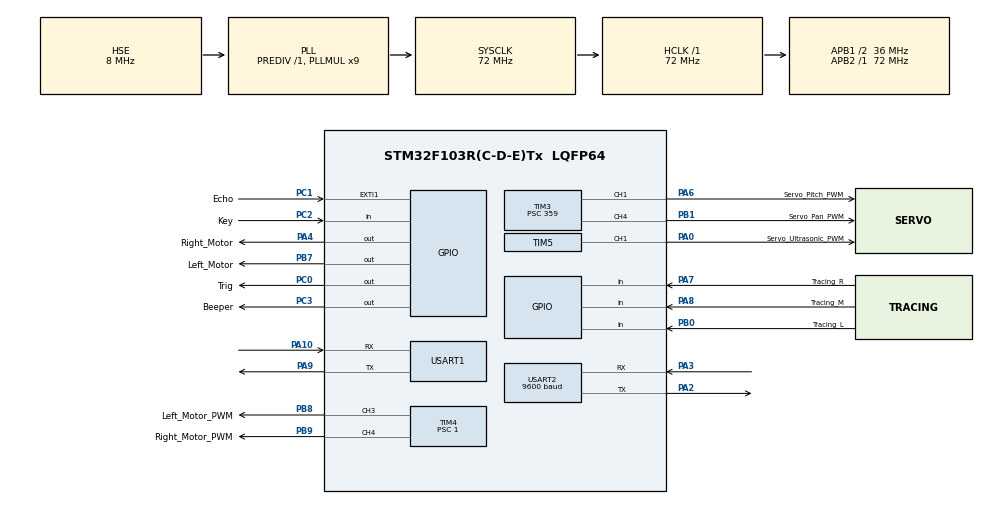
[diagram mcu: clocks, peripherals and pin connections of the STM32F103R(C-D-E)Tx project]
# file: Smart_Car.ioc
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Dma.Request0=USART2_TX
Dma.USART2_TX.0.Direction=DMA_MEMORY_TO_PERIPH
Dma.USART2_TX.0.Instance=DMA1_Channel7
Dma.USART2_TX.0.MemDataAlignment=DMA_MDATAALIGN_BYTE
Dma.USART2_TX.0.MemInc=DMA_MINC_ENABLE
Dma.USART2_TX.0.Mode=DMA_NORMAL
Dma.USART2_TX.0.PeriphDataAlignment=DMA_PDATAALIGN_BYTE
Dma.USART2_TX.0.PeriphInc=DMA_PINC_DISABLE
Dma.USART2_TX.0.Priority=DMA_PRIORITY_MEDIUM
Mcu.Family=STM32F1
Mcu.Name=STM32F103R(C-D-E)Tx
Mcu.Package=LQFP64
NVIC.DMA1_Channel7_IRQn=true\:0\:0\:false\:false\:true\:false\:true
NVIC.EXTI1_IRQn=true\:2\:2\:true\:false\:true\:true\:true
NVIC.PriorityGroup=NVIC_PRIORITYGROUP_2
NVIC.USART1_IRQn=true\:3\:3\:true\:false\:true\:true\:true
NVIC.USART2_IRQn=true\:2\:3\:true\:false\:true\:true\:true
PA0-WKUP.GPIO_Label=Servo_Ultrasonic_PWM
PA0-WKUP.Signal=S_TIM5_CH1
PA10.Mode=Asynchronous
PA10.Signal=USART1_RX
PA13.Mode=Serial_Wire
PA13.Signal=SYS_JTMS-SWDIO
PA14.Mode=Serial_Wire
PA14.Signal=SYS_JTCK-SWCLK
PA2.Mode=Asynchronous
PA2.Signal=USART2_TX
PA3.GPIO_PuPd=GPIO_NOPULL
PA3.Mode=Asynchronous
PA3.Signal=USART2_RX
PA4.GPIO_Label=Right_Motor
PA4.Signal=GPIO_Output
PA6.GPIO_Label=Servo_Pitch_PWM
PA6.Signal=S_TIM3_CH1
PA7.GPIO_Label=Tracing_R
PA7.GPIO_PuPd=GPIO_PULLUP
PA7.Signal=GPIO_Input
PA8.GPIO_Label=Tracing_M
PA8.GPIO_PuPd=GPIO_PULLUP
PA8.Signal=GPIO_Input
PA9.Mode=Asynchronous
PA9.Signal=USART1_TX
PB0.GPIO_Label=Tracing_L
PB0.GPIO_PuPd=GPIO_PULLUP
PB0.Signal=GPIO_Input
PB1.GPIO_Label=Servo_Pan_PWM
PB1.Signal=S_TIM3_CH4
PB7.GPIO_Label=Left_Motor
PB7.Signal=GPIO_Output
PB8.GPIO_Label=Left_Motor_PWM
PB8.Signal=S_TIM4_CH3
PB9.GPIO_Label=Right_Motor_PWM
PB9.Signal=S_TIM4_CH4
PC0.GPIO_Label=Trig
PC0.Signal=GPIO_Output
PC1.GPIO_Label=Echo
PC1.GPIO_ModeDefaultEXTI=GPIO_MODE_IT_RISING
PC1.GPIO_PuPd=GPIO_PULLDOWN
PC1.Signal=GPXTI1
PC2.GPIO_Label=Key
PC2.GPIO_PuPd=GPIO_PULLUP
PC2.Signal=GPIO_Input
PC3.GPIO_Label=Beeper
PC3.Signal=GPIO_Output
PD0-OSC_IN.Mode=HSE-External-Oscillator
PD0-OSC_IN.Signal=RCC_OSC_IN
PD1-OSC_OUT.Mode=HSE-External-Oscillator
PD1-OSC_OUT.Signal=RCC_OSC_OUT
ProjectManager.HeapSize=0x200
ProjectManager.StackSize=0x400
ProjectManager.TargetToolchain=MDK-ARM V5.27
RCC.AHBFreq_Value=72000000
RCC.APB1CLKDivider=RCC_HCLK_DIV2
RCC.APB1Freq_Value=36000000
RCC.APB1TimFreq_Value=72000000
RCC.APB2Freq_Value=72000000
RCC.APB2TimFreq_Value=72000000
RCC.HCLKFreq_Value=72000000
RCC.PLLMUL=RCC_PLL_MUL9
RCC.PLLSourceVirtual=RCC_PLLSOURCE_HSE
RCC.SYSCLKFreq_VALUE=72000000
RCC.SYSCLKSource=RCC_SYSCLKSOURCE_PLLCLK
RCC.USBFreq_Value=72000000
SH.S_TIM3_CH1.0=TIM3_CH1,PWM Generation1 CH1
SH.S_TIM3_CH4.0=TIM3_CH4,PWM Generation4 CH4
SH.S_TIM4_CH3.0=TIM4_CH3,PWM Generation3 CH3
SH.S_TIM4_CH4.0=TIM4_CH4,PWM Generation4 CH4
SH.S_TIM5_CH1.0=TIM5_CH1,PWM Generation1 CH1
TIM2.Period=65535
TIM2.Prescaler=71
TIM3.Channel-PWM\ Generation1\ CH1=TIM_CHANNEL_1
TIM3.Channel-PWM\ Generation4\ CH4=TIM_CHANNEL_4
TIM3.Period=3999
TIM3.Prescaler=359
TIM4.AutoReloadPreload=TIM_AUTORELOAD_PRELOAD_ENABLE
TIM4.Channel-PWM\ Generation3\ CH3=TIM_CHANNEL_3
TIM4.Channel-PWM\ Generation4\ CH4=TIM_CHANNEL_4
TIM4.OCMode_PWM-PWM\ Generation3\ CH3=TIM_OCMODE_PWM2
TIM4.OCMode_PWM-PWM\ Generation4\ CH4=TIM_OCMODE_PWM2
TIM4.Period=3599
TIM4.Prescaler=1
TIM5.AutoReloadPreload=TIM_AUTORELOAD_PRELOAD_ENABLE
TIM5.Channel-PWM\ Generation1\ CH1=TIM_CHANNEL_1
TIM5.ClockDivision=TIM_CLOCKDIVISION_DIV1
TIM5.Period=3999
TIM5.Prescaler=359
USART1.VirtualMode=VM_ASYNC
USART2.BaudRate=9600
USART2.VirtualMode=VM_ASYNC
VP_TIM2_VS_ClockSourceINT.Mode=Internal
board=custom

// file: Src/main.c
/* USER CODE BEGIN Header */
/**
  ******************************************************************************
  * @file           : main.c
  * @brief          : Main program body
  ******************************************************************************
  * @attention
  *
  * <h2><center>&copy; Copyright (c) 2023 STMicroelectronics.
  * All rights reserved.</center></h2>
  *
  * This software component is licensed by ST under BSD 3-Clause license,
  * the "License"; You may not use this file except in compliance with the
  * License. You may obtain a copy of the License at:
  *                        opensource.org/licenses/BSD-3-Clause
  *
  ******************************************************************************
  */
/* USER CODE END Header */

#include "main.h"
#include "dma.h"
#include "tim.h"
#include "usart.h"
#include "gpio.h"

/* USER CODE BEGIN Includes */
#include "motor.h"
#include "key.h"
#include "beeper.h"
#include "IR_Tracing.h"
#include "servo.h"
#include "UltrasonicWave.h"
#include "stdio.h"
#include "WIFI_Command.h"
/* USER CODE END Includes */

/* USER CODE BEGIN PV */
extern float UltrasonicWave_Distance;
extern int pan_angle;
extern int pitch_angle;
extern uint8_t USART2_RX_BUFF; 																	//接收缓存
extern uint8_t USART2_RX[USART2_MAX_RECV_LEN];									//接收储存
extern uint16_t USART2_RX_STA;																//接收数据计数
/* USER CODE END PV */

void SystemClock_Config(void);

int main(void)
{

  /* MCU Configuration--------------------------------------------------------*/

  /* Reset of all peripherals, Initializes the Flash interface and the Systick. */
  HAL_Init();

  /* Configure the system clock */
  SystemClock_Config();

  /* Initialize all configured peripherals */
  MX_GPIO_Init();
  MX_DMA_Init();
  MX_TIM4_Init();
  MX_TIM2_Init();
  MX_TIM5_Init();
  MX_USART1_UART_Init();
  MX_TIM3_Init();
  MX_USART2_UART_Init();
  /* USER CODE BEGIN 2 */
	HAL_TIM_PWM_Start(&htim4,TIM_CHANNEL_3);
	HAL_TIM_PWM_Start(&htim4,TIM_CHANNEL_4);
	HAL_TIM_PWM_Start(&htim5,TIM_CHANNEL_1);
	HAL_TIM_PWM_Start(&htim3,TIM_CHANNEL_1);
	HAL_TIM_PWM_Start(&htim3,TIM_CHANNEL_4);

	HAL_UART_Receive_IT(&huart2,(uint8_t *)&USART2_RX_BUFF, 1);//开启接收中断
  /* USER CODE END 2 */

  /* Infinite loop */
  /* USER CODE BEGIN WHILE */
	brake(50);
	keyscan();
	SetJointAngle(Servo_Ultrasonic,93);
	SetJointAngle(Servo_Pan,pan_angle);
	SetJointAngle(Servo_Pitch,pitch_angle);
	printf("hello\n");
  while (1)
  {
		UltrasonicWave_StartMeasure();
    /* USER CODE END WHILE */

    /* USER CODE BEGIN 3 */

		//printf("%f\n",UltrasonicWave_Distance);
		//HAL_Delay(500);

		//command_run(TracingRun(),70);
		//receive_command();
		command_run(receive_command(),70);
	}
  /* USER CODE END 3 */
}

void SystemClock_Config(void)
{
  RCC_OscInitTypeDef RCC_OscInitStruct = {0};
  RCC_ClkInitTypeDef RCC_ClkInitStruct = {0};

  /** Initializes the CPU, AHB and APB busses clocks
  */
  RCC_OscInitStruct.OscillatorType = RCC_OSCILLATORTYPE_HSE;
  RCC_OscInitStruct.HSEState = RCC_HSE_ON;
  RCC_OscInitStruct.HSEPredivValue = RCC_HSE_PREDIV_DIV1;
  RCC_OscInitStruct.HSIState = RCC_HSI_ON;
  RCC_OscInitStruct.PLL.PLLState = RCC_PLL_ON;
  RCC_OscInitStruct.PLL.PLLSource = RCC_PLLSOURCE_HSE;
  RCC_OscInitStruct.PLL.PLLMUL = RCC_PLL_MUL9;
  if (HAL_RCC_OscConfig(&RCC_OscInitStruct) != HAL_OK)
  {
    Error_Handler();
  }
  /** Initializes the CPU, AHB and APB busses clocks
  */
  RCC_ClkInitStruct.ClockType = RCC_CLOCKTYPE_HCLK|RCC_CLOCKTYPE_SYSCLK
                              |RCC_CLOCKTYPE_PCLK1|RCC_CLOCKTYPE_PCLK2;
  RCC_ClkInitStruct.SYSCLKSource = RCC_SYSCLKSOURCE_PLLCLK;
  RCC_ClkInitStruct.AHBCLKDivider = RCC_SYSCLK_DIV1;
  RCC_ClkInitStruct.APB1CLKDivider = RCC_HCLK_DIV2;
  RCC_ClkInitStruct.APB2CLKDivider = RCC_HCLK_DIV1;

  if (HAL_RCC_ClockConfig(&RCC_ClkInitStruct, FLASH_LATENCY_2) != HAL_OK)
  {
    Error_Handler();
  }
}

/* USER CODE BEGIN 4 */

//GPIO中断服务程序，用于处理超声波避障
void HAL_GPIO_EXTI_Callback(uint16_t GPIO_Pin)
{
	//传感器接收到回声后Ecoh输出高电平，高电平的持续时间就是从发出到接收的总时间
  if(GPIO_Pin==Echo_Pin)
	{
			__HAL_TIM_SET_COUNTER(&htim2,0);
			HAL_TIM_Base_Start(&htim2);//开启时钟
			while(HAL_GPIO_ReadPin(Echo_GPIO_Port,Echo_Pin));//等待低电平
			HAL_TIM_Base_Stop(&htim2);//关闭时钟
		//每一次计数为1us
			UltrasonicWave_Distance=(float)__HAL_TIM_GET_COUNTER(&htim2)*17/1000.0;//计算距离，单位为cm
	}
	if (UltrasonicWave_Distance<=8.0)
	{
	Error_Handler();
	}
}

//串口2中断服务程序，用于处理串口2接收
void HAL_UART_RxCpltCallback(UART_HandleTypeDef *huart)
{
	if(huart==&huart2)//接收到数据
	{
		USART2_RX[USART2_RX_STA++]=USART2_RX_BUFF;		//记录接收到的值
//		if(USART2_RX[USART2_RX_STA-1]== 0x0A)		//接收完毕
//		{
//			USART2_RX_STA=0;
//		}
		//printf("%s!\n",USART2_RX);
		HAL_UART_Receive_IT(&huart2, (uint8_t *)&USART2_RX_BUFF, 1);   //再开启接收中断
	}

}
/* USER CODE END 4 */

void Error_Handler(void)
{
  /* USER CODE BEGIN Error_Handler_Debug */
  /* User can add his own implementation to report the HAL error return state */
	while(1)
	{
		BEEPER_SET;
		brake(500);
		BEEPER_RESET;
		brake(500);
	}

  /* USER CODE END Error_Handler_Debug */
}

/************************ (C) COPYRIGHT STMicroelectronics *****END OF FILE****/
